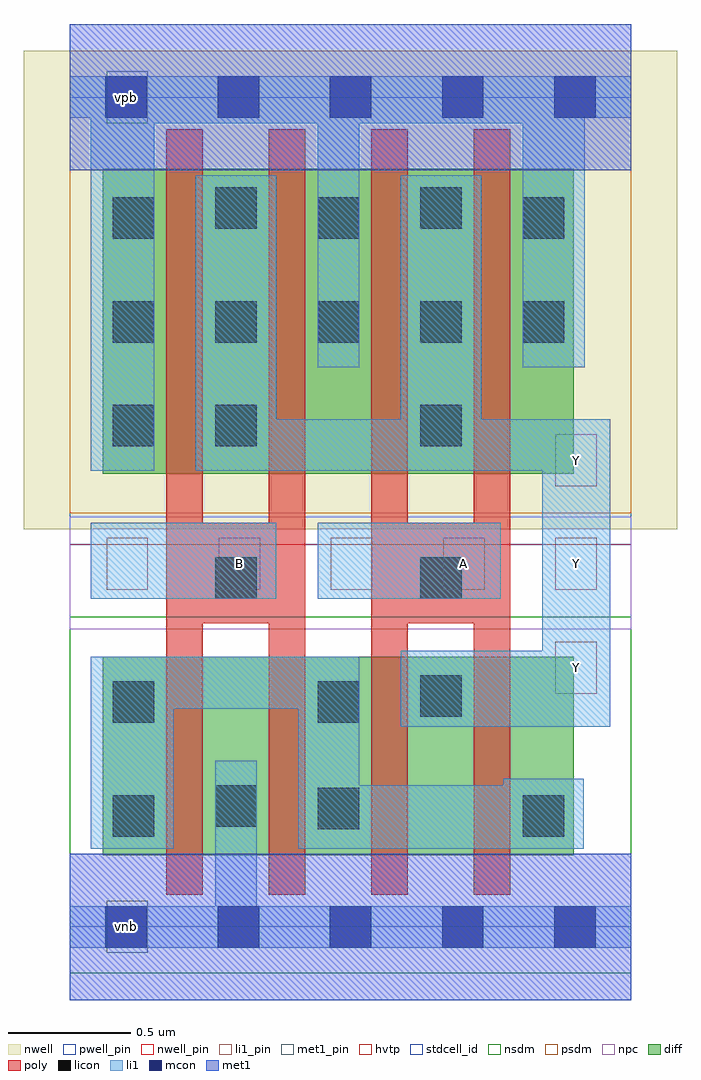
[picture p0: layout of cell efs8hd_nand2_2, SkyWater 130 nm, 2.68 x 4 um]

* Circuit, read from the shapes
.subckt efs8hd_nand2_2 A B Y vgnd vnb vpb vpwr
XM1 vgnd B n1 vnb sky130_fd_pr__nfet_01v8 w=0.812 l=0.15 m=2
XM2 Y A n1 vnb sky130_fd_pr__nfet_01v8 w=0.812 l=0.15 m=2
XM3 Y B vpwr vpb sky130_fd_pr__pfet_01v8_hvt w=1.25 l=0.15 m=2
XM4 Y A vpwr vpb sky130_fd_pr__pfet_01v8_hvt w=1.25 l=0.15 m=2
.ends

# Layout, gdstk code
import gdstk
lib = gdstk.Library(unit=1e-6, precision=1e-09)
def R(c, l, rs):  # rectangles x0, y0, x1, y1
    for r in rs: c.add(gdstk.rectangle(r[:2], r[2:], *l))
def A(c, l, x, y, w, h, nx, ny, dx, dy):  # array of equal rectangles
    R(c, l, [(x+i*dx, y+j*dy, x+i*dx+w, y+j*dy+h) for i in range(nx) for j in range(ny)])
def P(c, l, *ps):  # polygons
    for p in ps: c.add(gdstk.Polygon(p, *l))
nwell_pin = (64, 16)
nwell = (64, 20)
diff = (65, 20)
poly = (66, 20)
licon = (66, 44)
li1_pin = (67, 16)
li1 = (67, 20)
mcon = (67, 44)
met1_pin = (68, 16)
met1 = (68, 20)
hvtp = (78, 44)
stdcell_id = (81, 4)
nsdm = (93, 44)
psdm = (94, 20)
npc = (95, 20)
pwell_pin = (122, 16)

efs8hd_nand2_2 = lib.new_cell('efs8hd_nand2_2')
R(efs8hd_nand2_2, nwell_pin, [(0.15,3.294,0.32,3.506)])
R(efs8hd_nand2_2, nwell, [(-0.19,1.63,2.49,3.59)])
R(efs8hd_nand2_2, diff, [(0.135,0.294,2.065,1.106), (0.135,1.856,2.065,3.106)])
P(efs8hd_nand2_2, poly, [(0.815,3.269),(0.815,1.656),(0.545,1.656),(0.545,3.269),(0.395,3.269),(0.395,0.131),(0.545,0.131),(0.545,1.244),(0.815,1.244),(0.815,0.131),(0.965,0.131),(0.965,3.269)],
  [(1.655,3.269),(1.655,1.656),(1.385,1.656),(1.385,3.269),(1.235,3.269),(1.235,0.131),(1.385,0.131),(1.385,1.244),(1.655,1.244),(1.655,0.131),(1.805,0.131),(1.805,3.269)])
A(efs8hd_nand2_2, licon, 0.175, 2.394, 0.17, 0.17, 5, 1, 0.42, 0)
A(efs8hd_nand2_2, licon, 0.175, 2.819, 0.17, 0.17, 3, 1, 0.84, 0)
R(efs8hd_nand2_2, licon, [(0.175,0.369,0.345,0.539), (1.855,0.369,2.025,0.539), (1.015,0.399,1.185,0.569), (0.595,0.411,0.765,0.581), (0.175,0.836,0.345,1.006), (1.015,0.836,1.185,1.006), (1.435,0.861,1.605,1.031), (0.595,1.344,0.765,1.514), (1.435,1.344,1.605,1.514), (0.175,1.969,0.345,2.139), (0.595,1.969,0.765,2.139), (1.435,1.969,1.605,2.139), (0.595,2.861,0.765,3.031), (1.435,2.861,1.605,3.031)])
A(efs8hd_nand2_2, li1_pin, 0.15, 1.381, 0.17, 0.213, 5, 1, 0.46, 0)
R(efs8hd_nand2_2, li1_pin, [(1.99,0.956,2.16,1.169), (1.99,1.806,2.16,2.019)])
R(efs8hd_nand2_2, li1, [(0.085,1.344,0.845,1.656), (1.015,1.344,1.765,1.656)])
P(efs8hd_nand2_2, li1, [(0.595,0.681),(0.595,0.085),(0,0.085),(0,-0.085),(2.3,-0.085),(2.3,0.085),(0.765,0.085),(0.765,0.681)],
  [(0.085,1.106),(0.085,0.319),(0.425,0.319),(0.425,0.894),(0.935,0.894),(0.935,0.319),(2.105,0.319),(2.105,0.606),(1.775,0.606),(1.775,0.581),(1.185,0.581),(1.185,1.106)],
  [(1.355,3.081),(1.355,2.081),(0.845,2.081),(0.845,3.081),(0.515,3.081),(0.515,1.869),(1.935,1.869),(1.935,1.131),(1.355,1.131),(1.355,0.819),(2.215,0.819),(2.215,2.081),(1.685,2.081),(1.685,3.081)],
  [(0,3.485),(0,3.315),(0.085,3.315),(0.085,1.869),(0.345,1.869),(0.345,3.294),(1.015,3.294),(1.015,2.294),(1.185,2.294),(1.185,3.294),(1.855,3.294),(1.855,2.294),(2.11,2.294),(2.11,3.315),(2.3,3.315),(2.3,3.485)])
R(efs8hd_nand2_2, mcon, [(0.145,-0.085,0.315,0.085), (0.145,-0.085,0.315,0.085), (0.145,-0.085,0.315,0.085), (0.145,-0.085,0.315,0.085), (0.145,-0.085,0.315,0.085), (0.145,-0.085,0.315,0.085), (0.145,-0.085,0.315,0.085), (0.145,-0.085,0.315,0.085), (0.145,-0.085,0.315,0.085), (0.145,-0.085,0.315,0.085), (0.145,-0.085,0.315,0.085), (0.145,-0.085,0.315,0.085), (0.145,-0.085,0.315,0.085), (0.145,-0.085,0.315,0.085), (0.145,-0.085,0.315,0.085), (0.145,-0.085,0.315,0.085), (0.145,-0.085,0.315,0.085), (0.145,-0.085,0.315,0.085), (0.145,-0.085,0.315,0.085), (0.145,-0.085,0.315,0.085), (0.145,-0.085,0.315,0.085), (0.145,-0.085,0.315,0.085), (0.145,-0.085,0.315,0.085), (0.145,-0.085,0.315,0.085), (0.145,-0.085,0.315,0.085), (0.145,-0.085,0.315,0.085), (0.145,-0.085,0.315,0.085), (0.145,-0.085,0.315,0.085), (0.145,-0.085,0.315,0.085), (0.145,-0.085,0.315,0.085), (0.145,-0.085,0.315,0.085), (0.145,-0.085,0.315,0.085), (0.145,-0.085,0.315,0.085), (0.145,-0.085,0.315,0.085), (0.145,-0.085,0.315,0.085), (0.145,-0.085,0.315,0.085), (0.145,-0.085,0.315,0.085), (0.145,-0.085,0.315,0.085), (0.145,-0.085,0.315,0.085), (0.145,-0.085,0.315,0.085), (0.145,-0.085,0.315,0.085), (0.145,-0.085,0.315,0.085), (0.145,-0.085,0.315,0.085), (0.145,-0.085,0.315,0.085), (0.145,-0.085,0.315,0.085), (0.145,-0.085,0.315,0.085), (0.145,-0.085,0.315,0.085), (0.145,-0.085,0.315,0.085), (0.145,-0.085,0.315,0.085), (0.145,-0.085,0.315,0.085), (0.145,-0.085,0.315,0.085), (0.145,-0.085,0.315,0.085), (0.145,-0.085,0.315,0.085), (0.145,-0.085,0.315,0.085), (0.145,-0.085,0.315,0.085), (0.145,-0.085,0.315,0.085), (0.145,-0.085,0.315,0.085), (0.145,-0.085,0.315,0.085), (0.145,-0.085,0.315,0.085), (0.145,-0.085,0.315,0.085), (0.145,-0.085,0.315,0.085), (0.145,-0.085,0.315,0.085), (0.145,-0.085,0.315,0.085), (0.145,-0.085,0.315,0.085), (0.145,-0.085,0.315,0.085), (0.145,-0.085,0.315,0.085), (0.145,-0.085,0.315,0.085), (0.145,-0.085,0.315,0.085), (0.145,-0.085,0.315,0.085), (0.145,-0.085,0.315,0.085), (0.145,-0.085,0.315,0.085), (0.145,-0.085,0.315,0.085), (0.145,-0.085,0.315,0.085), (0.145,-0.085,0.315,0.085), (0.145,-0.085,0.315,0.085), (0.145,-0.085,0.315,0.085), (0.145,-0.085,0.315,0.085), (0.145,-0.085,0.315,0.085), (0.145,-0.085,0.315,0.085), (0.145,-0.085,0.315,0.085), (0.145,-0.085,0.315,0.085), (0.145,-0.085,0.315,0.085), (0.145,-0.085,0.315,0.085), (0.145,-0.085,0.315,0.085), (0.145,-0.085,0.315,0.085), (0.145,-0.085,0.315,0.085), (0.145,-0.085,0.315,0.085), (0.145,-0.085,0.315,0.085), (0.145,-0.085,0.315,0.085), (0.145,-0.085,0.315,0.085), (0.145,-0.085,0.315,0.085), (0.145,-0.085,0.315,0.085), (0.145,-0.085,0.315,0.085), (0.145,-0.085,0.315,0.085), (0.145,-0.085,0.315,0.085), (0.145,-0.085,0.315,0.085), (0.145,-0.085,0.315,0.085), (0.145,-0.085,0.315,0.085), (0.145,-0.085,0.315,0.085), (0.145,-0.085,0.315,0.085), (0.145,-0.085,0.315,0.085), (0.145,-0.085,0.315,0.085), (0.145,-0.085,0.315,0.085), (0.145,-0.085,0.315,0.085), (0.145,-0.085,0.315,0.085), (0.145,-0.085,0.315,0.085), (0.145,-0.085,0.315,0.085), (0.145,-0.085,0.315,0.085), (0.145,-0.085,0.315,0.085), (0.605,-0.085,0.775,0.085), (0.605,-0.085,0.775,0.085), (0.605,-0.085,0.775,0.085), (0.605,-0.085,0.775,0.085), (0.605,-0.085,0.775,0.085), (0.605,-0.085,0.775,0.085), (0.605,-0.085,0.775,0.085), (0.605,-0.085,0.775,0.085), (0.605,-0.085,0.775,0.085), (0.605,-0.085,0.775,0.085), (0.605,-0.085,0.775,0.085), (0.605,-0.085,0.775,0.085), (0.605,-0.085,0.775,0.085), (0.605,-0.085,0.775,0.085), (0.605,-0.085,0.775,0.085), (0.605,-0.085,0.775,0.085), (0.605,-0.085,0.775,0.085), (0.605,-0.085,0.775,0.085), (0.605,-0.085,0.775,0.085), (0.605,-0.085,0.775,0.085), (0.605,-0.085,0.775,0.085), (0.605,-0.085,0.775,0.085), (0.605,-0.085,0.775,0.085), (0.605,-0.085,0.775,0.085), (0.605,-0.085,0.775,0.085), (0.605,-0.085,0.775,0.085), (0.605,-0.085,0.775,0.085), (0.605,-0.085,0.775,0.085), (0.605,-0.085,0.775,0.085), (0.605,-0.085,0.775,0.085), (0.605,-0.085,0.775,0.085), (0.605,-0.085,0.775,0.085), (0.605,-0.085,0.775,0.085), (0.605,-0.085,0.775,0.085), (0.605,-0.085,0.775,0.085), (0.605,-0.085,0.775,0.085), (0.605,-0.085,0.775,0.085), (0.605,-0.085,0.775,0.085), (0.605,-0.085,0.775,0.085), (0.605,-0.085,0.775,0.085), (0.605,-0.085,0.775,0.085), (0.605,-0.085,0.775,0.085), (0.605,-0.085,0.775,0.085), (0.605,-0.085,0.775,0.085), (0.605,-0.085,0.775,0.085), (0.605,-0.085,0.775,0.085), (0.605,-0.085,0.775,0.085), (0.605,-0.085,0.775,0.085), (0.605,-0.085,0.775,0.085), (0.605,-0.085,0.775,0.085), (0.605,-0.085,0.775,0.085), (0.605,-0.085,0.775,0.085), (0.605,-0.085,0.775,0.085), (0.605,-0.085,0.775,0.085), (0.605,-0.085,0.775,0.085), (0.605,-0.085,0.775,0.085), (0.605,-0.085,0.775,0.085), (0.605,-0.085,0.775,0.085), (0.605,-0.085,0.775,0.085), (0.605,-0.085,0.775,0.085), (0.605,-0.085,0.775,0.085), (0.605,-0.085,0.775,0.085), (0.605,-0.085,0.775,0.085), (0.605,-0.085,0.775,0.085), (0.605,-0.085,0.775,0.085), (0.605,-0.085,0.775,0.085), (0.605,-0.085,0.775,0.085), (0.605,-0.085,0.775,0.085), (0.605,-0.085,0.775,0.085), (0.605,-0.085,0.775,0.085), (0.605,-0.085,0.775,0.085), (0.605,-0.085,0.775,0.085), (0.605,-0.085,0.775,0.085), (0.605,-0.085,0.775,0.085), (0.605,-0.085,0.775,0.085), (0.605,-0.085,0.775,0.085), (0.605,-0.085,0.775,0.085), (0.605,-0.085,0.775,0.085), (0.605,-0.085,0.775,0.085), (0.605,-0.085,0.775,0.085), (0.605,-0.085,0.775,0.085), (0.605,-0.085,0.775,0.085), (0.605,-0.085,0.775,0.085), (0.605,-0.085,0.775,0.085), (0.605,-0.085,0.775,0.085), (0.605,-0.085,0.775,0.085), (0.605,-0.085,0.775,0.085), (0.605,-0.085,0.775,0.085), (0.605,-0.085,0.775,0.085), (0.605,-0.085,0.775,0.085), (0.605,-0.085,0.775,0.085), (0.605,-0.085,0.775,0.085), (0.605,-0.085,0.775,0.085), (0.605,-0.085,0.775,0.085), (0.605,-0.085,0.775,0.085), (0.605,-0.085,0.775,0.085), (0.605,-0.085,0.775,0.085), (0.605,-0.085,0.775,0.085), (0.605,-0.085,0.775,0.085), (0.605,-0.085,0.775,0.085), (0.605,-0.085,0.775,0.085), (0.605,-0.085,0.775,0.085), (0.605,-0.085,0.775,0.085), (0.605,-0.085,0.775,0.085), (0.605,-0.085,0.775,0.085), (0.605,-0.085,0.775,0.085), (0.605,-0.085,0.775,0.085), (0.605,-0.085,0.775,0.085), (0.605,-0.085,0.775,0.085), (1.065,-0.085,1.235,0.085), (1.065,-0.085,1.235,0.085), (1.065,-0.085,1.235,0.085), (1.065,-0.085,1.235,0.085), (1.065,-0.085,1.235,0.085), (1.065,-0.085,1.235,0.085), (1.065,-0.085,1.235,0.085), (1.065,-0.085,1.235,0.085), (1.065,-0.085,1.235,0.085), (1.065,-0.085,1.235,0.085), (1.065,-0.085,1.235,0.085), (1.065,-0.085,1.235,0.085), (1.065,-0.085,1.235,0.085), (1.065,-0.085,1.235,0.085), (1.065,-0.085,1.235,0.085), (1.065,-0.085,1.235,0.085), (1.065,-0.085,1.235,0.085), (1.065,-0.085,1.235,0.085), (1.065,-0.085,1.235,0.085), (1.065,-0.085,1.235,0.085), (1.065,-0.085,1.235,0.085), (1.065,-0.085,1.235,0.085), (1.065,-0.085,1.235,0.085), (1.065,-0.085,1.235,0.085), (1.065,-0.085,1.235,0.085), (1.065,-0.085,1.235,0.085), (1.065,-0.085,1.235,0.085), (1.065,-0.085,1.235,0.085), (1.065,-0.085,1.235,0.085), (1.065,-0.085,1.235,0.085), (1.065,-0.085,1.235,0.085), (1.065,-0.085,1.235,0.085), (1.065,-0.085,1.235,0.085), (1.065,-0.085,1.235,0.085), (1.065,-0.085,1.235,0.085), (1.065,-0.085,1.235,0.085), (1.065,-0.085,1.235,0.085), (1.065,-0.085,1.235,0.085), (1.065,-0.085,1.235,0.085), (1.065,-0.085,1.235,0.085), (1.065,-0.085,1.235,0.085), (1.065,-0.085,1.235,0.085), (1.065,-0.085,1.235,0.085), (1.065,-0.085,1.235,0.085), (1.065,-0.085,1.235,0.085), (1.065,-0.085,1.235,0.085), (1.065,-0.085,1.235,0.085), (1.065,-0.085,1.235,0.085), (1.065,-0.085,1.235,0.085), (1.065,-0.085,1.235,0.085), (1.065,-0.085,1.235,0.085), (1.065,-0.085,1.235,0.085), (1.065,-0.085,1.235,0.085), (1.065,-0.085,1.235,0.085), (1.065,-0.085,1.235,0.085), (1.065,-0.085,1.235,0.085), (1.065,-0.085,1.235,0.085), (1.065,-0.085,1.235,0.085), (1.065,-0.085,1.235,0.085), (1.065,-0.085,1.235,0.085), (1.065,-0.085,1.235,0.085), (1.065,-0.085,1.235,0.085), (1.065,-0.085,1.235,0.085), (1.065,-0.085,1.235,0.085), (1.065,-0.085,1.235,0.085), (1.065,-0.085,1.235,0.085), (1.065,-0.085,1.235,0.085), (1.065,-0.085,1.235,0.085), (1.065,-0.085,1.235,0.085), (1.065,-0.085,1.235,0.085), (1.065,-0.085,1.235,0.085), (1.065,-0.085,1.235,0.085), (1.065,-0.085,1.235,0.085), (1.065,-0.085,1.235,0.085), (1.065,-0.085,1.235,0.085), (1.065,-0.085,1.235,0.085), (1.065,-0.085,1.235,0.085), (1.065,-0.085,1.235,0.085), (1.065,-0.085,1.235,0.085), (1.065,-0.085,1.235,0.085), (1.065,-0.085,1.235,0.085), (1.065,-0.085,1.235,0.085), (1.065,-0.085,1.235,0.085), (1.065,-0.085,1.235,0.085), (1.065,-0.085,1.235,0.085), (1.065,-0.085,1.235,0.085), (1.065,-0.085,1.235,0.085), (1.065,-0.085,1.235,0.085), (1.065,-0.085,1.235,0.085), (1.065,-0.085,1.235,0.085), (1.065,-0.085,1.235,0.085), (1.065,-0.085,1.235,0.085), (1.065,-0.085,1.235,0.085), (1.065,-0.085,1.235,0.085), (1.065,-0.085,1.235,0.085), (1.065,-0.085,1.235,0.085), (1.065,-0.085,1.235,0.085), (1.065,-0.085,1.235,0.085), (1.065,-0.085,1.235,0.085), (1.065,-0.085,1.235,0.085), (1.065,-0.085,1.235,0.085), (1.065,-0.085,1.235,0.085), (1.065,-0.085,1.235,0.085), (1.065,-0.085,1.235,0.085), (1.065,-0.085,1.235,0.085), (1.065,-0.085,1.235,0.085), (1.065,-0.085,1.235,0.085), (1.065,-0.085,1.235,0.085), (1.065,-0.085,1.235,0.085), (1.525,-0.085,1.695,0.085), (1.525,-0.085,1.695,0.085), (1.525,-0.085,1.695,0.085), (1.525,-0.085,1.695,0.085), (1.525,-0.085,1.695,0.085), (1.525,-0.085,1.695,0.085), (1.525,-0.085,1.695,0.085), (1.525,-0.085,1.695,0.085), (1.525,-0.085,1.695,0.085), (1.525,-0.085,1.695,0.085), (1.525,-0.085,1.695,0.085), (1.525,-0.085,1.695,0.085), (1.525,-0.085,1.695,0.085), (1.525,-0.085,1.695,0.085), (1.525,-0.085,1.695,0.085), (1.525,-0.085,1.695,0.085), (1.525,-0.085,1.695,0.085), (1.525,-0.085,1.695,0.085), (1.525,-0.085,1.695,0.085), (1.525,-0.085,1.695,0.085), (1.525,-0.085,1.695,0.085), (1.525,-0.085,1.695,0.085), (1.525,-0.085,1.695,0.085), (1.525,-0.085,1.695,0.085), (1.525,-0.085,1.695,0.085), (1.525,-0.085,1.695,0.085), (1.525,-0.085,1.695,0.085), (1.525,-0.085,1.695,0.085), (1.525,-0.085,1.695,0.085), (1.525,-0.085,1.695,0.085), (1.525,-0.085,1.695,0.085), (1.525,-0.085,1.695,0.085), (1.525,-0.085,1.695,0.085), (1.525,-0.085,1.695,0.085), (1.525,-0.085,1.695,0.085), (1.525,-0.085,1.695,0.085), (1.525,-0.085,1.695,0.085), (1.525,-0.085,1.695,0.085), (1.525,-0.085,1.695,0.085), (1.525,-0.085,1.695,0.085), (1.525,-0.085,1.695,0.085), (1.525,-0.085,1.695,0.085), (1.525,-0.085,1.695,0.085), (1.525,-0.085,1.695,0.085), (1.525,-0.085,1.695,0.085), (1.525,-0.085,1.695,0.085), (1.525,-0.085,1.695,0.085), (1.525,-0.085,1.695,0.085), (1.525,-0.085,1.695,0.085), (1.525,-0.085,1.695,0.085), (1.525,-0.085,1.695,0.085), (1.525,-0.085,1.695,0.085), (1.525,-0.085,1.695,0.085), (1.525,-0.085,1.695,0.085), (1.525,-0.085,1.695,0.085), (1.525,-0.085,1.695,0.085), (1.525,-0.085,1.695,0.085), (1.525,-0.085,1.695,0.085), (1.525,-0.085,1.695,0.085), (1.525,-0.085,1.695,0.085), (1.525,-0.085,1.695,0.085), (1.525,-0.085,1.695,0.085), (1.525,-0.085,1.695,0.085), (1.525,-0.085,1.695,0.085), (1.525,-0.085,1.695,0.085), (1.525,-0.085,1.695,0.085), (1.525,-0.085,1.695,0.085), (1.525,-0.085,1.695,0.085), (1.525,-0.085,1.695,0.085), (1.525,-0.085,1.695,0.085), (1.525,-0.085,1.695,0.085), (1.525,-0.085,1.695,0.085), (1.525,-0.085,1.695,0.085), (1.525,-0.085,1.695,0.085), (1.525,-0.085,1.695,0.085), (1.525,-0.085,1.695,0.085), (1.525,-0.085,1.695,0.085), (1.525,-0.085,1.695,0.085), (1.525,-0.085,1.695,0.085), (1.525,-0.085,1.695,0.085), (1.525,-0.085,1.695,0.085), (1.525,-0.085,1.695,0.085), (1.525,-0.085,1.695,0.085), (1.525,-0.085,1.695,0.085), (1.525,-0.085,1.695,0.085), (1.525,-0.085,1.695,0.085), (1.525,-0.085,1.695,0.085), (1.525,-0.085,1.695,0.085), (1.525,-0.085,1.695,0.085), (1.525,-0.085,1.695,0.085), (1.525,-0.085,1.695,0.085), (1.525,-0.085,1.695,0.085), (1.525,-0.085,1.695,0.085), (1.525,-0.085,1.695,0.085), (1.525,-0.085,1.695,0.085), (1.525,-0.085,1.695,0.085), (1.525,-0.085,1.695,0.085), (1.525,-0.085,1.695,0.085), (1.525,-0.085,1.695,0.085), (1.525,-0.085,1.695,0.085), (1.525,-0.085,1.695,0.085), (1.525,-0.085,1.695,0.085), (1.525,-0.085,1.695,0.085), (1.525,-0.085,1.695,0.085), (1.525,-0.085,1.695,0.085), (1.525,-0.085,1.695,0.085), (1.525,-0.085,1.695,0.085), (1.525,-0.085,1.695,0.085), (1.525,-0.085,1.695,0.085), (1.985,-0.085,2.155,0.085), (1.985,-0.085,2.155,0.085), (1.985,-0.085,2.155,0.085), (1.985,-0.085,2.155,0.085), (1.985,-0.085,2.155,0.085), (1.985,-0.085,2.155,0.085), (1.985,-0.085,2.155,0.085), (1.985,-0.085,2.155,0.085), (1.985,-0.085,2.155,0.085), (1.985,-0.085,2.155,0.085), (1.985,-0.085,2.155,0.085), (1.985,-0.085,2.155,0.085), (1.985,-0.085,2.155,0.085), (1.985,-0.085,2.155,0.085), (1.985,-0.085,2.155,0.085), (1.985,-0.085,2.155,0.085), (1.985,-0.085,2.155,0.085), (1.985,-0.085,2.155,0.085), (1.985,-0.085,2.155,0.085), (1.985,-0.085,2.155,0.085), (1.985,-0.085,2.155,0.085), (1.985,-0.085,2.155,0.085), (1.985,-0.085,2.155,0.085), (1.985,-0.085,2.155,0.085), (1.985,-0.085,2.155,0.085), (1.985,-0.085,2.155,0.085), (1.985,-0.085,2.155,0.085), (1.985,-0.085,2.155,0.085), (1.985,-0.085,2.155,0.085), (1.985,-0.085,2.155,0.085), (1.985,-0.085,2.155,0.085), (1.985,-0.085,2.155,0.085), (1.985,-0.085,2.155,0.085), (1.985,-0.085,2.155,0.085), (1.985,-0.085,2.155,0.085), (1.985,-0.085,2.155,0.085), (1.985,-0.085,2.155,0.085), (1.985,-0.085,2.155,0.085), (1.985,-0.085,2.155,0.085), (1.985,-0.085,2.155,0.085), (1.985,-0.085,2.155,0.085), (1.985,-0.085,2.155,0.085), (1.985,-0.085,2.155,0.085), (1.985,-0.085,2.155,0.085), (1.985,-0.085,2.155,0.085), (1.985,-0.085,2.155,0.085), (1.985,-0.085,2.155,0.085), (1.985,-0.085,2.155,0.085), (1.985,-0.085,2.155,0.085), (1.985,-0.085,2.155,0.085), (1.985,-0.085,2.155,0.085), (1.985,-0.085,2.155,0.085), (1.985,-0.085,2.155,0.085), (1.985,-0.085,2.155,0.085), (1.985,-0.085,2.155,0.085), (1.985,-0.085,2.155,0.085), (1.985,-0.085,2.155,0.085), (1.985,-0.085,2.155,0.085), (1.985,-0.085,2.155,0.085), (1.985,-0.085,2.155,0.085), (1.985,-0.085,2.155,0.085), (1.985,-0.085,2.155,0.085), (1.985,-0.085,2.155,0.085), (1.985,-0.085,2.155,0.085), (1.985,-0.085,2.155,0.085), (1.985,-0.085,2.155,0.085), (1.985,-0.085,2.155,0.085), (1.985,-0.085,2.155,0.085), (1.985,-0.085,2.155,0.085), (1.985,-0.085,2.155,0.085), (1.985,-0.085,2.155,0.085), (1.985,-0.085,2.155,0.085), (1.985,-0.085,2.155,0.085), (1.985,-0.085,2.155,0.085), (1.985,-0.085,2.155,0.085), (1.985,-0.085,2.155,0.085), (1.985,-0.085,2.155,0.085), (1.985,-0.085,2.155,0.085), (1.985,-0.085,2.155,0.085), (1.985,-0.085,2.155,0.085), (1.985,-0.085,2.155,0.085), (1.985,-0.085,2.155,0.085), (1.985,-0.085,2.155,0.085), (1.985,-0.085,2.155,0.085), (1.985,-0.085,2.155,0.085), (1.985,-0.085,2.155,0.085), (1.985,-0.085,2.155,0.085), (1.985,-0.085,2.155,0.085), (1.985,-0.085,2.155,0.085), (1.985,-0.085,2.155,0.085), (1.985,-0.085,2.155,0.085), (1.985,-0.085,2.155,0.085), (1.985,-0.085,2.155,0.085), (1.985,-0.085,2.155,0.085), (1.985,-0.085,2.155,0.085), (1.985,-0.085,2.155,0.085), (1.985,-0.085,2.155,0.085), (1.985,-0.085,2.155,0.085), (1.985,-0.085,2.155,0.085), (1.985,-0.085,2.155,0.085), (1.985,-0.085,2.155,0.085), (1.985,-0.085,2.155,0.085), (1.985,-0.085,2.155,0.085), (1.985,-0.085,2.155,0.085), (1.985,-0.085,2.155,0.085), (1.985,-0.085,2.155,0.085), (1.985,-0.085,2.155,0.085), (1.985,-0.085,2.155,0.085), (1.985,-0.085,2.155,0.085), (0.145,3.315,0.315,3.485), (0.145,3.315,0.315,3.485), (0.145,3.315,0.315,3.485), (0.145,3.315,0.315,3.485), (0.145,3.315,0.315,3.485), (0.145,3.315,0.315,3.485), (0.145,3.315,0.315,3.485), (0.145,3.315,0.315,3.485), (0.145,3.315,0.315,3.485), (0.145,3.315,0.315,3.485), (0.145,3.315,0.315,3.485), (0.145,3.315,0.315,3.485), (0.145,3.315,0.315,3.485), (0.145,3.315,0.315,3.485), (0.145,3.315,0.315,3.485), (0.145,3.315,0.315,3.485), (0.145,3.315,0.315,3.485), (0.145,3.315,0.315,3.485), (0.145,3.315,0.315,3.485), (0.145,3.315,0.315,3.485), (0.145,3.315,0.315,3.485), (0.145,3.315,0.315,3.485), (0.145,3.315,0.315,3.485), (0.145,3.315,0.315,3.485), (0.145,3.315,0.315,3.485), (0.145,3.315,0.315,3.485), (0.145,3.315,0.315,3.485), (0.145,3.315,0.315,3.485), (0.145,3.315,0.315,3.485), (0.145,3.315,0.315,3.485), (0.145,3.315,0.315,3.485), (0.145,3.315,0.315,3.485), (0.145,3.315,0.315,3.485), (0.145,3.315,0.315,3.485), (0.145,3.315,0.315,3.485), (0.145,3.315,0.315,3.485), (0.145,3.315,0.315,3.485), (0.145,3.315,0.315,3.485), (0.145,3.315,0.315,3.485), (0.145,3.315,0.315,3.485), (0.145,3.315,0.315,3.485), (0.145,3.315,0.315,3.485), (0.145,3.315,0.315,3.485), (0.145,3.315,0.315,3.485), (0.145,3.315,0.315,3.485), (0.145,3.315,0.315,3.485), (0.145,3.315,0.315,3.485), (0.145,3.315,0.315,3.485), (0.145,3.315,0.315,3.485), (0.145,3.315,0.315,3.485), (0.145,3.315,0.315,3.485), (0.145,3.315,0.315,3.485), (0.145,3.315,0.315,3.485), (0.145,3.315,0.315,3.485), (0.145,3.315,0.315,3.485), (0.145,3.315,0.315,3.485), (0.145,3.315,0.315,3.485), (0.145,3.315,0.315,3.485), (0.145,3.315,0.315,3.485), (0.145,3.315,0.315,3.485), (0.145,3.315,0.315,3.485), (0.145,3.315,0.315,3.485), (0.145,3.315,0.315,3.485), (0.145,3.315,0.315,3.485), (0.145,3.315,0.315,3.485), (0.145,3.315,0.315,3.485), (0.145,3.315,0.315,3.485), (0.145,3.315,0.315,3.485), (0.145,3.315,0.315,3.485), (0.145,3.315,0.315,3.485), (0.145,3.315,0.315,3.485), (0.145,3.315,0.315,3.485), (0.145,3.315,0.315,3.485), (0.145,3.315,0.315,3.485), (0.145,3.315,0.315,3.485), (0.145,3.315,0.315,3.485), (0.145,3.315,0.315,3.485), (0.145,3.315,0.315,3.485), (0.145,3.315,0.315,3.485), (0.145,3.315,0.315,3.485), (0.145,3.315,0.315,3.485), (0.145,3.315,0.315,3.485), (0.145,3.315,0.315,3.485), (0.145,3.315,0.315,3.485), (0.145,3.315,0.315,3.485), (0.145,3.315,0.315,3.485), (0.145,3.315,0.315,3.485), (0.145,3.315,0.315,3.485), (0.145,3.315,0.315,3.485), (0.145,3.315,0.315,3.485), (0.145,3.315,0.315,3.485), (0.145,3.315,0.315,3.485), (0.145,3.315,0.315,3.485), (0.145,3.315,0.315,3.485), (0.145,3.315,0.315,3.485), (0.145,3.315,0.315,3.485), (0.145,3.315,0.315,3.485), (0.145,3.315,0.315,3.485), (0.145,3.315,0.315,3.485), (0.145,3.315,0.315,3.485), (0.145,3.315,0.315,3.485), (0.145,3.315,0.315,3.485), (0.145,3.315,0.315,3.485), (0.145,3.315,0.315,3.485), (0.145,3.315,0.315,3.485), (0.145,3.315,0.315,3.485), (0.145,3.315,0.315,3.485), (0.145,3.315,0.315,3.485), (0.145,3.315,0.315,3.485), (0.605,3.315,0.775,3.485), (0.605,3.315,0.775,3.485), (0.605,3.315,0.775,3.485), (0.605,3.315,0.775,3.485), (0.605,3.315,0.775,3.485), (0.605,3.315,0.775,3.485), (0.605,3.315,0.775,3.485), (0.605,3.315,0.775,3.485), (0.605,3.315,0.775,3.485), (0.605,3.315,0.775,3.485), (0.605,3.315,0.775,3.485), (0.605,3.315,0.775,3.485), (0.605,3.315,0.775,3.485), (0.605,3.315,0.775,3.485), (0.605,3.315,0.775,3.485), (0.605,3.315,0.775,3.485), (0.605,3.315,0.775,3.485), (0.605,3.315,0.775,3.485), (0.605,3.315,0.775,3.485), (0.605,3.315,0.775,3.485), (0.605,3.315,0.775,3.485), (0.605,3.315,0.775,3.485), (0.605,3.315,0.775,3.485), (0.605,3.315,0.775,3.485), (0.605,3.315,0.775,3.485), (0.605,3.315,0.775,3.485), (0.605,3.315,0.775,3.485), (0.605,3.315,0.775,3.485), (0.605,3.315,0.775,3.485), (0.605,3.315,0.775,3.485), (0.605,3.315,0.775,3.485), (0.605,3.315,0.775,3.485), (0.605,3.315,0.775,3.485), (0.605,3.315,0.775,3.485), (0.605,3.315,0.775,3.485), (0.605,3.315,0.775,3.485), (0.605,3.315,0.775,3.485), (0.605,3.315,0.775,3.485), (0.605,3.315,0.775,3.485), (0.605,3.315,0.775,3.485), (0.605,3.315,0.775,3.485), (0.605,3.315,0.775,3.485), (0.605,3.315,0.775,3.485), (0.605,3.315,0.775,3.485), (0.605,3.315,0.775,3.485), (0.605,3.315,0.775,3.485), (0.605,3.315,0.775,3.485), (0.605,3.315,0.775,3.485), (0.605,3.315,0.775,3.485), (0.605,3.315,0.775,3.485), (0.605,3.315,0.775,3.485), (0.605,3.315,0.775,3.485), (0.605,3.315,0.775,3.485), (0.605,3.315,0.775,3.485), (0.605,3.315,0.775,3.485), (0.605,3.315,0.775,3.485), (0.605,3.315,0.775,3.485), (0.605,3.315,0.775,3.485), (0.605,3.315,0.775,3.485), (0.605,3.315,0.775,3.485), (0.605,3.315,0.775,3.485), (0.605,3.315,0.775,3.485), (0.605,3.315,0.775,3.485), (0.605,3.315,0.775,3.485), (0.605,3.315,0.775,3.485), (0.605,3.315,0.775,3.485), (0.605,3.315,0.775,3.485), (0.605,3.315,0.775,3.485), (0.605,3.315,0.775,3.485), (0.605,3.315,0.775,3.485), (0.605,3.315,0.775,3.485), (0.605,3.315,0.775,3.485), (0.605,3.315,0.775,3.485), (0.605,3.315,0.775,3.485), (0.605,3.315,0.775,3.485), (0.605,3.315,0.775,3.485), (0.605,3.315,0.775,3.485), (0.605,3.315,0.775,3.485), (0.605,3.315,0.775,3.485), (0.605,3.315,0.775,3.485), (0.605,3.315,0.775,3.485), (0.605,3.315,0.775,3.485), (0.605,3.315,0.775,3.485), (0.605,3.315,0.775,3.485), (0.605,3.315,0.775,3.485), (0.605,3.315,0.775,3.485), (0.605,3.315,0.775,3.485), (0.605,3.315,0.775,3.485), (0.605,3.315,0.775,3.485), (0.605,3.315,0.775,3.485), (0.605,3.315,0.775,3.485), (0.605,3.315,0.775,3.485), (0.605,3.315,0.775,3.485), (0.605,3.315,0.775,3.485), (0.605,3.315,0.775,3.485), (0.605,3.315,0.775,3.485), (0.605,3.315,0.775,3.485), (0.605,3.315,0.775,3.485), (0.605,3.315,0.775,3.485), (0.605,3.315,0.775,3.485), (0.605,3.315,0.775,3.485), (0.605,3.315,0.775,3.485), (0.605,3.315,0.775,3.485), (0.605,3.315,0.775,3.485), (0.605,3.315,0.775,3.485), (0.605,3.315,0.775,3.485), (0.605,3.315,0.775,3.485), (0.605,3.315,0.775,3.485), (0.605,3.315,0.775,3.485), (1.065,3.315,1.235,3.485), (1.065,3.315,1.235,3.485), (1.065,3.315,1.235,3.485), (1.065,3.315,1.235,3.485), (1.065,3.315,1.235,3.485), (1.065,3.315,1.235,3.485), (1.065,3.315,1.235,3.485), (1.065,3.315,1.235,3.485), (1.065,3.315,1.235,3.485), (1.065,3.315,1.235,3.485), (1.065,3.315,1.235,3.485), (1.065,3.315,1.235,3.485), (1.065,3.315,1.235,3.485), (1.065,3.315,1.235,3.485), (1.065,3.315,1.235,3.485), (1.065,3.315,1.235,3.485), (1.065,3.315,1.235,3.485), (1.065,3.315,1.235,3.485), (1.065,3.315,1.235,3.485), (1.065,3.315,1.235,3.485), (1.065,3.315,1.235,3.485), (1.065,3.315,1.235,3.485), (1.065,3.315,1.235,3.485), (1.065,3.315,1.235,3.485), (1.065,3.315,1.235,3.485), (1.065,3.315,1.235,3.485), (1.065,3.315,1.235,3.485), (1.065,3.315,1.235,3.485), (1.065,3.315,1.235,3.485), (1.065,3.315,1.235,3.485), (1.065,3.315,1.235,3.485), (1.065,3.315,1.235,3.485), (1.065,3.315,1.235,3.485), (1.065,3.315,1.235,3.485), (1.065,3.315,1.235,3.485), (1.065,3.315,1.235,3.485), (1.065,3.315,1.235,3.485), (1.065,3.315,1.235,3.485), (1.065,3.315,1.235,3.485), (1.065,3.315,1.235,3.485), (1.065,3.315,1.235,3.485), (1.065,3.315,1.235,3.485), (1.065,3.315,1.235,3.485), (1.065,3.315,1.235,3.485), (1.065,3.315,1.235,3.485), (1.065,3.315,1.235,3.485), (1.065,3.315,1.235,3.485), (1.065,3.315,1.235,3.485), (1.065,3.315,1.235,3.485), (1.065,3.315,1.235,3.485), (1.065,3.315,1.235,3.485), (1.065,3.315,1.235,3.485), (1.065,3.315,1.235,3.485), (1.065,3.315,1.235,3.485), (1.065,3.315,1.235,3.485), (1.065,3.315,1.235,3.485), (1.065,3.315,1.235,3.485), (1.065,3.315,1.235,3.485), (1.065,3.315,1.235,3.485), (1.065,3.315,1.235,3.485), (1.065,3.315,1.235,3.485), (1.065,3.315,1.235,3.485), (1.065,3.315,1.235,3.485), (1.065,3.315,1.235,3.485), (1.065,3.315,1.235,3.485), (1.065,3.315,1.235,3.485), (1.065,3.315,1.235,3.485), (1.065,3.315,1.235,3.485), (1.065,3.315,1.235,3.485), (1.065,3.315,1.235,3.485), (1.065,3.315,1.235,3.485), (1.065,3.315,1.235,3.485), (1.065,3.315,1.235,3.485), (1.065,3.315,1.235,3.485), (1.065,3.315,1.235,3.485), (1.065,3.315,1.235,3.485), (1.065,3.315,1.235,3.485), (1.065,3.315,1.235,3.485), (1.065,3.315,1.235,3.485), (1.065,3.315,1.235,3.485), (1.065,3.315,1.235,3.485), (1.065,3.315,1.235,3.485), (1.065,3.315,1.235,3.485), (1.065,3.315,1.235,3.485), (1.065,3.315,1.235,3.485), (1.065,3.315,1.235,3.485), (1.065,3.315,1.235,3.485), (1.065,3.315,1.235,3.485), (1.065,3.315,1.235,3.485), (1.065,3.315,1.235,3.485), (1.065,3.315,1.235,3.485), (1.065,3.315,1.235,3.485), (1.065,3.315,1.235,3.485), (1.065,3.315,1.235,3.485), (1.065,3.315,1.235,3.485), (1.065,3.315,1.235,3.485), (1.065,3.315,1.235,3.485), (1.065,3.315,1.235,3.485), (1.065,3.315,1.235,3.485), (1.065,3.315,1.235,3.485), (1.065,3.315,1.235,3.485), (1.065,3.315,1.235,3.485), (1.065,3.315,1.235,3.485), (1.065,3.315,1.235,3.485), (1.065,3.315,1.235,3.485), (1.065,3.315,1.235,3.485), (1.065,3.315,1.235,3.485), (1.065,3.315,1.235,3.485), (1.065,3.315,1.235,3.485), (1.525,3.315,1.695,3.485), (1.525,3.315,1.695,3.485), (1.525,3.315,1.695,3.485), (1.525,3.315,1.695,3.485), (1.525,3.315,1.695,3.485), (1.525,3.315,1.695,3.485), (1.525,3.315,1.695,3.485), (1.525,3.315,1.695,3.485), (1.525,3.315,1.695,3.485), (1.525,3.315,1.695,3.485), (1.525,3.315,1.695,3.485), (1.525,3.315,1.695,3.485), (1.525,3.315,1.695,3.485), (1.525,3.315,1.695,3.485), (1.525,3.315,1.695,3.485), (1.525,3.315,1.695,3.485), (1.525,3.315,1.695,3.485), (1.525,3.315,1.695,3.485), (1.525,3.315,1.695,3.485), (1.525,3.315,1.695,3.485), (1.525,3.315,1.695,3.485), (1.525,3.315,1.695,3.485), (1.525,3.315,1.695,3.485), (1.525,3.315,1.695,3.485), (1.525,3.315,1.695,3.485), (1.525,3.315,1.695,3.485), (1.525,3.315,1.695,3.485), (1.525,3.315,1.695,3.485), (1.525,3.315,1.695,3.485), (1.525,3.315,1.695,3.485), (1.525,3.315,1.695,3.485), (1.525,3.315,1.695,3.485), (1.525,3.315,1.695,3.485), (1.525,3.315,1.695,3.485), (1.525,3.315,1.695,3.485), (1.525,3.315,1.695,3.485), (1.525,3.315,1.695,3.485), (1.525,3.315,1.695,3.485), (1.525,3.315,1.695,3.485), (1.525,3.315,1.695,3.485), (1.525,3.315,1.695,3.485), (1.525,3.315,1.695,3.485), (1.525,3.315,1.695,3.485), (1.525,3.315,1.695,3.485), (1.525,3.315,1.695,3.485), (1.525,3.315,1.695,3.485), (1.525,3.315,1.695,3.485), (1.525,3.315,1.695,3.485), (1.525,3.315,1.695,3.485), (1.525,3.315,1.695,3.485), (1.525,3.315,1.695,3.485), (1.525,3.315,1.695,3.485), (1.525,3.315,1.695,3.485), (1.525,3.315,1.695,3.485), (1.525,3.315,1.695,3.485), (1.525,3.315,1.695,3.485), (1.525,3.315,1.695,3.485), (1.525,3.315,1.695,3.485), (1.525,3.315,1.695,3.485), (1.525,3.315,1.695,3.485), (1.525,3.315,1.695,3.485), (1.525,3.315,1.695,3.485), (1.525,3.315,1.695,3.485), (1.525,3.315,1.695,3.485), (1.525,3.315,1.695,3.485), (1.525,3.315,1.695,3.485), (1.525,3.315,1.695,3.485), (1.525,3.315,1.695,3.485), (1.525,3.315,1.695,3.485), (1.525,3.315,1.695,3.485), (1.525,3.315,1.695,3.485), (1.525,3.315,1.695,3.485), (1.525,3.315,1.695,3.485), (1.525,3.315,1.695,3.485), (1.525,3.315,1.695,3.485), (1.525,3.315,1.695,3.485), (1.525,3.315,1.695,3.485), (1.525,3.315,1.695,3.485), (1.525,3.315,1.695,3.485), (1.525,3.315,1.695,3.485), (1.525,3.315,1.695,3.485), (1.525,3.315,1.695,3.485), (1.525,3.315,1.695,3.485), (1.525,3.315,1.695,3.485), (1.525,3.315,1.695,3.485), (1.525,3.315,1.695,3.485), (1.525,3.315,1.695,3.485), (1.525,3.315,1.695,3.485), (1.525,3.315,1.695,3.485), (1.525,3.315,1.695,3.485), (1.525,3.315,1.695,3.485), (1.525,3.315,1.695,3.485), (1.525,3.315,1.695,3.485), (1.525,3.315,1.695,3.485), (1.525,3.315,1.695,3.485), (1.525,3.315,1.695,3.485), (1.525,3.315,1.695,3.485), (1.525,3.315,1.695,3.485), (1.525,3.315,1.695,3.485), (1.525,3.315,1.695,3.485), (1.525,3.315,1.695,3.485), (1.525,3.315,1.695,3.485), (1.525,3.315,1.695,3.485), (1.525,3.315,1.695,3.485), (1.525,3.315,1.695,3.485), (1.525,3.315,1.695,3.485), (1.525,3.315,1.695,3.485), (1.525,3.315,1.695,3.485), (1.525,3.315,1.695,3.485), (1.985,3.315,2.155,3.485), (1.985,3.315,2.155,3.485), (1.985,3.315,2.155,3.485), (1.985,3.315,2.155,3.485), (1.985,3.315,2.155,3.485), (1.985,3.315,2.155,3.485), (1.985,3.315,2.155,3.485), (1.985,3.315,2.155,3.485), (1.985,3.315,2.155,3.485), (1.985,3.315,2.155,3.485), (1.985,3.315,2.155,3.485), (1.985,3.315,2.155,3.485), (1.985,3.315,2.155,3.485), (1.985,3.315,2.155,3.485), (1.985,3.315,2.155,3.485), (1.985,3.315,2.155,3.485), (1.985,3.315,2.155,3.485), (1.985,3.315,2.155,3.485), (1.985,3.315,2.155,3.485), (1.985,3.315,2.155,3.485), (1.985,3.315,2.155,3.485), (1.985,3.315,2.155,3.485), (1.985,3.315,2.155,3.485), (1.985,3.315,2.155,3.485), (1.985,3.315,2.155,3.485), (1.985,3.315,2.155,3.485), (1.985,3.315,2.155,3.485), (1.985,3.315,2.155,3.485), (1.985,3.315,2.155,3.485), (1.985,3.315,2.155,3.485), (1.985,3.315,2.155,3.485), (1.985,3.315,2.155,3.485), (1.985,3.315,2.155,3.485), (1.985,3.315,2.155,3.485), (1.985,3.315,2.155,3.485), (1.985,3.315,2.155,3.485), (1.985,3.315,2.155,3.485), (1.985,3.315,2.155,3.485), (1.985,3.315,2.155,3.485), (1.985,3.315,2.155,3.485), (1.985,3.315,2.155,3.485), (1.985,3.315,2.155,3.485), (1.985,3.315,2.155,3.485), (1.985,3.315,2.155,3.485), (1.985,3.315,2.155,3.485), (1.985,3.315,2.155,3.485), (1.985,3.315,2.155,3.485), (1.985,3.315,2.155,3.485), (1.985,3.315,2.155,3.485), (1.985,3.315,2.155,3.485), (1.985,3.315,2.155,3.485), (1.985,3.315,2.155,3.485), (1.985,3.315,2.155,3.485), (1.985,3.315,2.155,3.485), (1.985,3.315,2.155,3.485), (1.985,3.315,2.155,3.485), (1.985,3.315,2.155,3.485), (1.985,3.315,2.155,3.485), (1.985,3.315,2.155,3.485), (1.985,3.315,2.155,3.485), (1.985,3.315,2.155,3.485), (1.985,3.315,2.155,3.485), (1.985,3.315,2.155,3.485), (1.985,3.315,2.155,3.485), (1.985,3.315,2.155,3.485), (1.985,3.315,2.155,3.485), (1.985,3.315,2.155,3.485), (1.985,3.315,2.155,3.485), (1.985,3.315,2.155,3.485), (1.985,3.315,2.155,3.485), (1.985,3.315,2.155,3.485), (1.985,3.315,2.155,3.485), (1.985,3.315,2.155,3.485), (1.985,3.315,2.155,3.485), (1.985,3.315,2.155,3.485), (1.985,3.315,2.155,3.485), (1.985,3.315,2.155,3.485), (1.985,3.315,2.155,3.485), (1.985,3.315,2.155,3.485), (1.985,3.315,2.155,3.485), (1.985,3.315,2.155,3.485), (1.985,3.315,2.155,3.485), (1.985,3.315,2.155,3.485), (1.985,3.315,2.155,3.485), (1.985,3.315,2.155,3.485), (1.985,3.315,2.155,3.485), (1.985,3.315,2.155,3.485), (1.985,3.315,2.155,3.485), (1.985,3.315,2.155,3.485), (1.985,3.315,2.155,3.485), (1.985,3.315,2.155,3.485), (1.985,3.315,2.155,3.485), (1.985,3.315,2.155,3.485), (1.985,3.315,2.155,3.485), (1.985,3.315,2.155,3.485), (1.985,3.315,2.155,3.485), (1.985,3.315,2.155,3.485), (1.985,3.315,2.155,3.485), (1.985,3.315,2.155,3.485), (1.985,3.315,2.155,3.485), (1.985,3.315,2.155,3.485), (1.985,3.315,2.155,3.485), (1.985,3.315,2.155,3.485), (1.985,3.315,2.155,3.485), (1.985,3.315,2.155,3.485), (1.985,3.315,2.155,3.485), (1.985,3.315,2.155,3.485), (1.985,3.315,2.155,3.485), (1.985,3.315,2.155,3.485)])
R(efs8hd_nand2_2, met1_pin, [(0.15,-0.106,0.32,0.106), (0.15,3.294,0.32,3.506)])
R(efs8hd_nand2_2, met1, [(0,-0.3,2.3,0.3), (0,3.1,2.3,3.7)])
R(efs8hd_nand2_2, hvtp, [(0,1.565,2.3,3.4)])
R(efs8hd_nand2_2, stdcell_id, [(0,0,2.3,3.4)])
R(efs8hd_nand2_2, nsdm, [(0,-0.19,2.3,1.27)])
R(efs8hd_nand2_2, psdm, [(0,1.695,2.3,3.59)])
R(efs8hd_nand2_2, npc, [(0,1.22,2.3,1.68)])
R(efs8hd_nand2_2, pwell_pin, [(0.15,-0.106,0.32,0.106)])
efs8hd_nand2_2.add(gdstk.Label('vnb', (0.23,0), layer=64, texttype=59))
efs8hd_nand2_2.add(gdstk.Label('efs8hd_nand2_2', (0,0), layer=83, texttype=44))
efs8hd_nand2_2.add(gdstk.Label('vpb', (0.23,3.4), layer=64, texttype=5))
efs8hd_nand2_2.add(gdstk.Label('Y', (2.075,1.063), layer=67, texttype=5))
efs8hd_nand2_2.add(gdstk.Label('B', (0.695,1.488), layer=67, texttype=5))
efs8hd_nand2_2.add(gdstk.Label('A', (1.615,1.488), layer=67, texttype=5))
efs8hd_nand2_2.add(gdstk.Label('Y', (2.075,1.488), layer=67, texttype=5))
efs8hd_nand2_2.add(gdstk.Label('Y', (2.075,1.913), layer=67, texttype=5))
efs8hd_nand2_2.add(gdstk.Label('vgnd', (0.23,0), layer=68, texttype=5))
efs8hd_nand2_2.add(gdstk.Label('vpwr', (0.23,3.4), layer=68, texttype=5))

lib.write_gds('efs8hd_nand2_2.gds')
